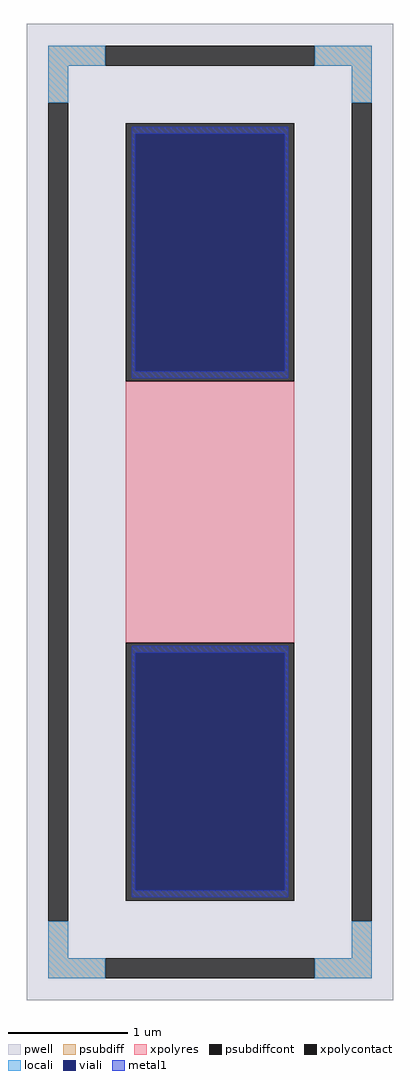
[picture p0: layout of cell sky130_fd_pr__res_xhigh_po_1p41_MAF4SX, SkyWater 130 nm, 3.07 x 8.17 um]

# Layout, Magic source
magic
tech sky130A
magscale 1 2
<< pwell >>
rect -307 -817 307 817
<< psubdiff >>
rect -271 747 -175 781
rect 175 747 271 781
rect -271 685 -237 747
rect 237 685 271 747
rect -271 -747 -237 -685
rect 237 -747 271 -685
rect -271 -781 -175 -747
rect 175 -781 271 -747
<< psubdiffcont >>
rect -175 747 175 781
rect -271 -685 -237 685
rect 237 -685 271 685
rect -175 -781 175 -747
<< xpolycontact >>
rect -141 219 141 651
rect -141 -651 141 -219
<< xpolyres >>
rect -141 -219 141 219
<< locali >>
rect -271 747 -175 781
rect 175 747 271 781
rect -271 685 -237 747
rect 237 685 271 747
rect -271 -747 -237 -685
rect 237 -747 271 -685
rect -271 -781 -175 -747
rect 175 -781 271 -747
<< viali >>
rect -125 236 125 633
rect -125 -633 125 -236
<< metal1 >>
rect -131 633 131 645
rect -131 236 -125 633
rect 125 236 131 633
rect -131 224 131 236
rect -131 -236 131 -224
rect -131 -633 -125 -236
rect 125 -633 131 -236
rect -131 -645 131 -633
<< properties >>
string FIXED_BBOX -254 -764 254 764
string gencell sky130_fd_pr__res_xhigh_po_1p41
string library sky130
string parameters w 1.410 l 2.348 m 1 nx 1 wmin 1.410 lmin 0.50 rho 2000 val 3.597k dummy 0 dw 0.0 term 188.2 sterm 0.0 caplen 0 wmax 1.410 guard 1 glc 1 grc 1 gtc 1 gbc 1 compatible {sky130_fd_pr__res_xhigh_po_0p35  sky130_fd_pr__res_xhigh_po_0p69 sky130_fd_pr__res_xhigh_po_1p41  sky130_fd_pr__res_xhigh_po_2p85 sky130_fd_pr__res_xhigh_po_5p73} snake 0 full_metal 1 n_guard 0 hv_guard 0 vias 1 viagb 0 viagt 0 viagl 0 viagr 0
<< end >>
